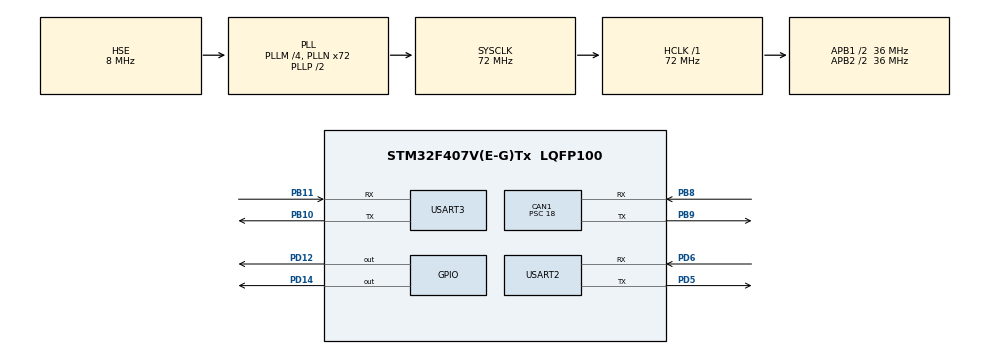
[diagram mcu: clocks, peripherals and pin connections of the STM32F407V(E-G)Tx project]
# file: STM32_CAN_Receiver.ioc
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CAN1.BS1=CAN_BS1_2TQ
CAN1.CalculateBaudRate=500000
CAN1.CalculateTimeBit=2000
CAN1.CalculateTimeQuantum=500.0
CAN1.Prescaler=18
FREERTOS.INCLUDE_vTaskDelayUntil=1
FREERTOS.Tasks01=defaultTask,-3,128,StartDefaultTask,Default,NULL,Dynamic,NULL,NULL
FREERTOS.configUSE_NEWLIB_REENTRANT=1
Mcu.Family=STM32F4
Mcu.Name=STM32F407V(E-G)Tx
Mcu.Package=LQFP100
NVIC.CAN1_RX0_IRQn=true\:5\:0\:false\:false\:true\:true\:true\:true\:true
NVIC.PriorityGroup=NVIC_PRIORITYGROUP_4
NVIC.TIM6_DAC_IRQn=true\:15\:0\:false\:false\:true\:false\:false\:true\:true
NVIC.TimeBase=TIM6_DAC_IRQn
NVIC.TimeBaseIP=TIM6
PB10.Mode=Asynchronous
PB10.Signal=USART3_TX
PB11.Mode=Asynchronous
PB11.Signal=USART3_RX
PB8.Mode=CAN_Activate
PB8.Signal=CAN1_RX
PB9.Mode=CAN_Activate
PB9.Signal=CAN1_TX
PD12.Signal=GPIO_Output
PD14.Signal=GPIO_Output
PD5.Mode=Asynchronous
PD5.Signal=USART2_TX
PD6.Mode=Asynchronous
PD6.Signal=USART2_RX
PH0-OSC_IN.Mode=HSE-External-Oscillator
PH0-OSC_IN.Signal=RCC_OSC_IN
PH1-OSC_OUT.Mode=HSE-External-Oscillator
PH1-OSC_OUT.Signal=RCC_OSC_OUT
ProjectManager.HeapSize=0x200
ProjectManager.StackSize=0x400
ProjectManager.TargetToolchain=STM32CubeIDE
RCC.48MHZClocksFreq_Value=20571428.57142857
RCC.AHBFreq_Value=72000000
RCC.APB1CLKDivider=RCC_HCLK_DIV2
RCC.APB1Freq_Value=36000000
RCC.APB1TimFreq_Value=72000000
RCC.APB2CLKDivider=RCC_HCLK_DIV2
RCC.APB2Freq_Value=36000000
RCC.APB2TimFreq_Value=72000000
RCC.CortexFreq_Value=72000000
RCC.HCLKFreq_Value=72000000
RCC.HSE_VALUE=8000000
RCC.HSI_VALUE=16000000
RCC.LSE_VALUE=32768
RCC.PLLM=4
RCC.PLLN=72
RCC.PLLQ=7
RCC.PLLSourceVirtual=RCC_PLLSOURCE_HSE
RCC.SYSCLKFreq_VALUE=72000000
RCC.SYSCLKSource=RCC_SYSCLKSOURCE_PLLCLK
RCC.VCOOutputFreq_Value=144000000
USART2.VirtualMode=VM_ASYNC
USART3.VirtualMode=VM_ASYNC
VP_FREERTOS_VS_CMSIS_V1.Mode=CMSIS_V1
VP_SYS_VS_tim6.Mode=TIM6
board=STM32F407G-DISC1

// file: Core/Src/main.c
/* USER CODE BEGIN Header */
/**
  ******************************************************************************
  * @file           : main.c
  * @brief          : Main program body
  ******************************************************************************
  * @attention
  *
  * Copyright (c) 2025 STMicroelectronics.
  * All rights reserved.
  *
  * This software is licensed under terms that can be found in the LICENSE file
  * in the root directory of this software component.
  * If no LICENSE file comes with this software, it is provided AS-IS.
  *
  ******************************************************************************
  */
/* USER CODE END Header */
#include "main.h"
#include "cmsis_os.h"

/* USER CODE BEGIN Includes */
#include "string.h"
#include "stdio.h"
/* USER CODE END Includes */

CAN_HandleTypeDef hcan1;

UART_HandleTypeDef huart2;
UART_HandleTypeDef huart3;

osThreadId defaultTaskHandle;
/* USER CODE BEGIN PV */

osThreadId CANRxTaskHandle;
osThreadId LCDTaskHandle1;
CAN_RxHeaderTypeDef RxHeader;
uint8_t RxData[8];
volatile uint8_t dataReady = 0;
volatile uint8_t dataReady_1 = 0;

uint16_t LDR_Value = 0;
uint16_t MQ5_Value = 0;
uint8_t Temp_Value = 0;
uint8_t Hum_Value = 0;

/* USER CODE END PV */

void SystemClock_Config(void);
static void MX_GPIO_Init(void);
static void MX_CAN1_Init(void);
static void MX_USART2_UART_Init(void);
static void MX_USART3_UART_Init(void);
void StartDefaultTask(void const * argument);

/* USER CODE BEGIN PFP */

void canRxTask(void const * argument);
void canRxTask1(void const * argument);

/* USER CODE END PFP */

/* USER CODE BEGIN 0 */

//-------------------------------------------------------- USER CODE ---------------------------------------------------------------------------------//

void HAL_CAN_RxFifo0MsgPendingCallback(CAN_HandleTypeDef *hcan)
{
  // Get received message
  if (HAL_CAN_GetRxMessage(hcan, CAN_RX_FIFO0, &RxHeader, RxData) == HAL_OK)
  {
    if (RxHeader.StdId == 0x0A9 && RxHeader.DLC >= 4)
    {
      // Extract 16-bit sensor values from data bytes
      LDR_Value  = (RxData[0] << 8) | RxData[1];
      MQ5_Value  = (RxData[2] << 8) | RxData[3];
      Temp_Value = (RxData[4] << 8) | RxData[5];
      Hum_Value  = (RxData[6] << 8) | RxData[7];
      dataReady  = 1;
    }
  }
}

/* USER CODE END 0 */

int main(void)
{

  /* MCU Configuration--------------------------------------------------------*/

  /* Reset of all peripherals, Initializes the Flash interface and the Systick. */
  HAL_Init();

  /* Configure the system clock */
  SystemClock_Config();

  /* Initialize all configured peripherals */
  MX_GPIO_Init();
  MX_CAN1_Init();
  MX_USART2_UART_Init();
  MX_USART3_UART_Init();
  /* USER CODE BEGIN 2 */

  HAL_CAN_Start(&hcan1);
  HAL_CAN_ActivateNotification(&hcan1, CAN_IT_RX_FIFO0_MSG_PENDING );

  /* USER CODE END 2 */

  /* Create the thread(s) */
  /* definition and creation of defaultTask */
  osThreadDef(defaultTask, StartDefaultTask, osPriorityIdle, 0, 128);
  defaultTaskHandle = osThreadCreate(osThread(defaultTask), NULL);

  /* USER CODE BEGIN RTOS_THREADS */
  /* add threads, ... */

  osThreadDef(CANRxTask, canRxTask, osPriorityIdle, 0, 128);
  CANRxTaskHandle = osThreadCreate(osThread(CANRxTask), NULL);

  osThreadDef(CANRxTask1, canRxTask1, osPriorityIdle, 0, 128);
  LCDTaskHandle1 = osThreadCreate(osThread(CANRxTask1), NULL);

  /* USER CODE END RTOS_THREADS */

  /* Start scheduler */
  osKernelStart();

  /* We should never get here as control is now taken by the scheduler */

  /* Infinite loop */
  while (1)
  {

  }
}

void SystemClock_Config(void)
{
  RCC_OscInitTypeDef RCC_OscInitStruct = {0};
  RCC_ClkInitTypeDef RCC_ClkInitStruct = {0};

  /** Configure the main internal regulator output voltage
  */
  __HAL_RCC_PWR_CLK_ENABLE();
  __HAL_PWR_VOLTAGESCALING_CONFIG(PWR_REGULATOR_VOLTAGE_SCALE1);

  /** Initializes the RCC Oscillators according to the specified parameters
  * in the RCC_OscInitTypeDef structure.
  */
  RCC_OscInitStruct.OscillatorType = RCC_OSCILLATORTYPE_HSE;
  RCC_OscInitStruct.HSEState = RCC_HSE_ON;
  RCC_OscInitStruct.PLL.PLLState = RCC_PLL_ON;
  RCC_OscInitStruct.PLL.PLLSource = RCC_PLLSOURCE_HSE;
  RCC_OscInitStruct.PLL.PLLM = 4;
  RCC_OscInitStruct.PLL.PLLN = 72;
  RCC_OscInitStruct.PLL.PLLP = RCC_PLLP_DIV2;
  RCC_OscInitStruct.PLL.PLLQ = 7;
  if (HAL_RCC_OscConfig(&RCC_OscInitStruct) != HAL_OK)
  {
    Error_Handler();
  }

  /** Initializes the CPU, AHB and APB buses clocks
  */
  RCC_ClkInitStruct.ClockType = RCC_CLOCKTYPE_HCLK|RCC_CLOCKTYPE_SYSCLK
                              |RCC_CLOCKTYPE_PCLK1|RCC_CLOCKTYPE_PCLK2;
  RCC_ClkInitStruct.SYSCLKSource = RCC_SYSCLKSOURCE_PLLCLK;
  RCC_ClkInitStruct.AHBCLKDivider = RCC_SYSCLK_DIV1;
  RCC_ClkInitStruct.APB1CLKDivider = RCC_HCLK_DIV2;
  RCC_ClkInitStruct.APB2CLKDivider = RCC_HCLK_DIV2;

  if (HAL_RCC_ClockConfig(&RCC_ClkInitStruct, FLASH_LATENCY_2) != HAL_OK)
  {
    Error_Handler();
  }
}

static void MX_CAN1_Init(void)
{

  hcan1.Instance = CAN1;
  hcan1.Init.Prescaler = 18;
  hcan1.Init.Mode = CAN_MODE_NORMAL;
  hcan1.Init.SyncJumpWidth = CAN_SJW_1TQ;
  hcan1.Init.TimeSeg1 = CAN_BS1_2TQ;
  hcan1.Init.TimeSeg2 = CAN_BS2_1TQ;
  hcan1.Init.TimeTriggeredMode = DISABLE;
  hcan1.Init.AutoBusOff = DISABLE;
  hcan1.Init.AutoWakeUp = DISABLE;
  hcan1.Init.AutoRetransmission = DISABLE;
  hcan1.Init.ReceiveFifoLocked = DISABLE;
  hcan1.Init.TransmitFifoPriority = DISABLE;
  if (HAL_CAN_Init(&hcan1) != HAL_OK)
  {
    Error_Handler();
  }
  /* USER CODE BEGIN CAN1_Init 2 */
  CAN_FilterTypeDef canFilterConfig;

    canFilterConfig.FilterActivation = ENABLE;
    canFilterConfig.FilterBank = 0;
    canFilterConfig.FilterFIFOAssignment = CAN_FILTER_FIFO0;
    canFilterConfig.FilterIdHigh = 0x0A9 << 5;  // Standard ID in top bits
    canFilterConfig.FilterIdLow = 0;
    canFilterConfig.FilterMaskIdHigh = 0x7FF << 5;  // Match only 0x0A9
    canFilterConfig.FilterMaskIdLow = 0;
    canFilterConfig.FilterMode = CAN_FILTERMODE_IDMASK;
    canFilterConfig.FilterScale = CAN_FILTERSCALE_32BIT;

    if (HAL_CAN_ConfigFilter(&hcan1, &canFilterConfig) != HAL_OK)
    {
      Error_Handler();
    }
  /* USER CODE END CAN1_Init 2 */

}

static void MX_USART2_UART_Init(void)
{

  huart2.Instance = USART2;
  huart2.Init.BaudRate = 115200;
  huart2.Init.WordLength = UART_WORDLENGTH_8B;
  huart2.Init.StopBits = UART_STOPBITS_1;
  huart2.Init.Parity = UART_PARITY_NONE;
  huart2.Init.Mode = UART_MODE_TX_RX;
  huart2.Init.HwFlowCtl = UART_HWCONTROL_NONE;
  huart2.Init.OverSampling = UART_OVERSAMPLING_16;
  if (HAL_UART_Init(&huart2) != HAL_OK)
  {
    Error_Handler();
  }

}

static void MX_USART3_UART_Init(void)
{

  huart3.Instance = USART3;
  huart3.Init.BaudRate = 115200;
  huart3.Init.WordLength = UART_WORDLENGTH_8B;
  huart3.Init.StopBits = UART_STOPBITS_1;
  huart3.Init.Parity = UART_PARITY_NONE;
  huart3.Init.Mode = UART_MODE_TX_RX;
  huart3.Init.HwFlowCtl = UART_HWCONTROL_NONE;
  huart3.Init.OverSampling = UART_OVERSAMPLING_16;
  if (HAL_UART_Init(&huart3) != HAL_OK)
  {
    Error_Handler();
  }

}

static void MX_GPIO_Init(void)
{
  GPIO_InitTypeDef GPIO_InitStruct = {0};

  /* GPIO Ports Clock Enable */
  __HAL_RCC_GPIOH_CLK_ENABLE();
  __HAL_RCC_GPIOB_CLK_ENABLE();
  __HAL_RCC_GPIOD_CLK_ENABLE();

  /*Configure GPIO pin Output Level */
  HAL_GPIO_WritePin(GPIOD, GPIO_PIN_12|GPIO_PIN_14, GPIO_PIN_RESET);

  /*Configure GPIO pins : PD12 PD14 */
  GPIO_InitStruct.Pin = GPIO_PIN_12|GPIO_PIN_14;
  GPIO_InitStruct.Mode = GPIO_MODE_OUTPUT_PP;
  GPIO_InitStruct.Pull = GPIO_NOPULL;
  GPIO_InitStruct.Speed = GPIO_SPEED_FREQ_LOW;
  HAL_GPIO_Init(GPIOD, &GPIO_InitStruct);

}

/* USER CODE BEGIN 4 */
void canRxTask(void const * argument)
{
  char uartMsg[150];
  for (;;)
  {
    if (dataReady)
    {
    	 sprintf(uartMsg,"{\"LDR_DATA\":%u,\"MQ5_DATA\":%u,\"TEMPERATURE\":%u,\"HUMIDITY\":%u,\"LOCATION\":\"Lab1\"}\n",LDR_Value, MQ5_Value, Temp_Value, Hum_Value);
    	 HAL_UART_Transmit(&huart2, (uint8_t*)uartMsg, strlen(uartMsg), HAL_MAX_DELAY);
    	 HAL_GPIO_TogglePin(GPIOD, GPIO_PIN_14);

      dataReady = 0;
      dataReady_1 = 1;
    }
    osDelay(10000);
  }
}

void canRxTask1(void const * argument)
{

  char Msg2[50];
  for (;;)
  {
    if (dataReady_1)
    {
    	sprintf(Msg2,"LDR:%u  MQ5:%u Temp:%u Humi:%u \r\n ",LDR_Value, MQ5_Value,Temp_Value,Hum_Value);

   	 HAL_UART_Transmit(&huart3, (uint8_t*)Msg2, strlen(Msg2), HAL_MAX_DELAY);

      dataReady_1 = 0;
    }
    osDelay(1000);
  }
}

/* USER CODE END 4 */

void StartDefaultTask(void const * argument)
{
  for(;;)
  {
    osDelay(1);
  }
}

void HAL_TIM_PeriodElapsedCallback(TIM_HandleTypeDef *htim)
{
  if (htim->Instance == TIM6)
  {
    HAL_IncTick();
  }
}

void Error_Handler(void)
{
  __disable_irq();
  while (1)
  {
  }
}
